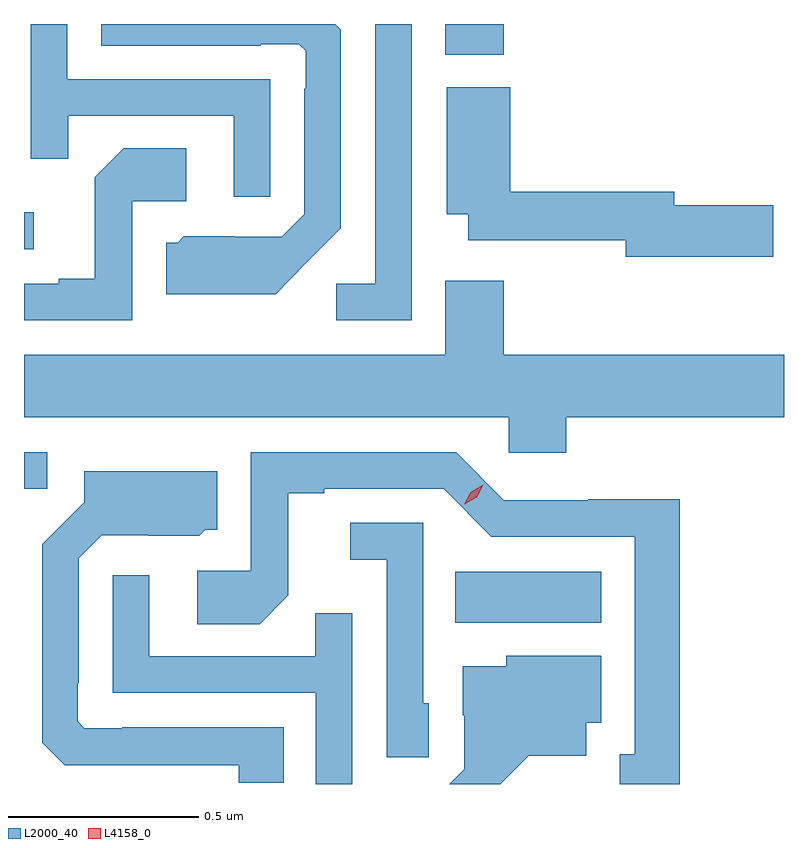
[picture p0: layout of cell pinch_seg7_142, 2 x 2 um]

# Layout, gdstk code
import gdstk
lib = gdstk.Library(unit=1e-6, precision=1e-09)
def R(c, l, rs):  # rectangles x0, y0, x1, y1
    for r in rs: c.add(gdstk.rectangle(r[:2], r[2:], *l))
def P(c, l, *ps):  # polygons
    for p in ps: c.add(gdstk.Polygon(p, *l))
L2000_40 = (2000, 40)
L4158_0 = (4158, 0)

pinch_seg7_142 = lib.new_cell('pinch_seg7_142')
R(pinch_seg7_142, L2000_40, [(1070.656,1005.404,1071.04,1005.538), (1069.521,1005.756,1069.582,1005.852), (1069.521,1006.386,1069.546,1006.483), (1070.63,1006.898,1070.783,1006.979)])
P(pinch_seg7_142, L2000_40, [(1070.541,1006.979),(1070.445,1006.979),(1070.445,1006.296),(1070.343,1006.296),(1070.343,1006.2),(1070.541,1006.2)],
  [(1070.263,1006.349),(1070.355,1006.442),(1070.355,1006.964),(1070.34,1006.979),(1069.724,1006.979),(1069.724,1006.922),(1070.144,1006.922),(1070.144,1006.926),(1070.244,1006.926),(1070.262,1006.908),(1070.262,1006.808),(1070.259,1006.808),(1070.259,1006.479),(1070.199,1006.419),(1070.076,1006.419),(1070.076,1006.42),(1069.942,1006.42),(1069.926,1006.404),(1069.895,1006.404),(1069.895,1006.268),(1070.183,1006.268)],
  [(1070.169,1006.833),(1069.635,1006.833),(1069.635,1006.979),(1069.539,1006.979),(1069.539,1006.624),(1069.637,1006.624),(1069.637,1006.737),(1070.073,1006.737),(1070.073,1006.524),(1070.169,1006.524)],
  [(1071.493,1006.502),(1071.232,1006.502),(1071.232,1006.538),(1070.8,1006.538),(1070.8,1006.813),(1070.633,1006.813),(1070.633,1006.478),(1070.69,1006.478),(1070.69,1006.41),(1071.104,1006.41),(1071.104,1006.367),(1071.493,1006.367)],
  [(1069.806,1006.512),(1069.948,1006.512),(1069.948,1006.652),(1069.783,1006.652),(1069.707,1006.576),(1069.707,1006.309),(1069.613,1006.309),(1069.613,1006.296),(1069.521,1006.296),(1069.521,1006.2),(1069.806,1006.2)],
  [(1070.948,1005.944),(1071.521,1005.944),(1071.521,1006.108),(1070.783,1006.108),(1070.783,1006.303),(1070.63,1006.303),(1070.63,1006.108),(1069.521,1006.108),(1069.521,1005.944),(1070.796,1005.944),(1070.796,1005.851),(1070.948,1005.851)],
  [(1071.247,1005.728),(1071.006,1005.728),(1071.006,1005.726),(1070.784,1005.726),(1070.658,1005.852),(1070.118,1005.852),(1070.118,1005.54),(1069.977,1005.54),(1069.977,1005.4),(1070.141,1005.4),(1070.217,1005.476),(1070.217,1005.744),(1070.311,1005.744),(1070.311,1005.756),(1070.625,1005.756),(1070.751,1005.63),(1071.128,1005.63),(1071.128,1005.057),(1071.089,1005.057),(1071.089,1004.979),(1071.247,1004.979)],
  [(1070.204,1005.129),(1069.78,1005.129),(1069.78,1005.126),(1069.68,1005.126),(1069.662,1005.144),(1069.662,1005.244),(1069.665,1005.244),(1069.665,1005.573),(1069.725,1005.633),(1069.848,1005.633),(1069.848,1005.632),(1069.982,1005.632),(1069.998,1005.648),(1070.029,1005.648),(1070.029,1005.802),(1069.679,1005.802),(1069.679,1005.72),(1069.569,1005.61),(1069.569,1005.088),(1069.628,1005.029),(1069.729,1005.029),(1069.729,1005.028),(1070.086,1005.028),(1070.086,1004.982),(1070.204,1004.982)],
  [(1070.586,1005.192),(1070.571,1005.192),(1070.571,1005.666),(1070.379,1005.666),(1070.379,1005.569),(1070.475,1005.569),(1070.475,1005.049),(1070.586,1005.049)],
  [(1070.385,1005.428),(1070.287,1005.428),(1070.287,1005.315),(1069.851,1005.315),(1069.851,1005.529),(1069.755,1005.529),(1069.755,1005.219),(1070.289,1005.219),(1070.289,1004.979),(1070.385,1004.979)],
  [(1070.849,1005.053),(1071.001,1005.053),(1071.001,1005.14),(1071.04,1005.14),(1071.04,1005.316),(1070.79,1005.316),(1070.79,1005.289),(1070.675,1005.289),(1070.675,1005.16),(1070.679,1005.16),(1070.679,1005.018),(1070.64,1004.979),(1070.774,1004.979)])
P(pinch_seg7_142, L4158_0, [(1070.68,1005.715),(1070.68,1005.715),(1070.697,1005.747),(1070.729,1005.766),(1070.729,1005.766),(1070.729,1005.766),(1070.712,1005.733),(1070.68,1005.715)])

lib.write_gds('pinch_seg7_142.gds')
